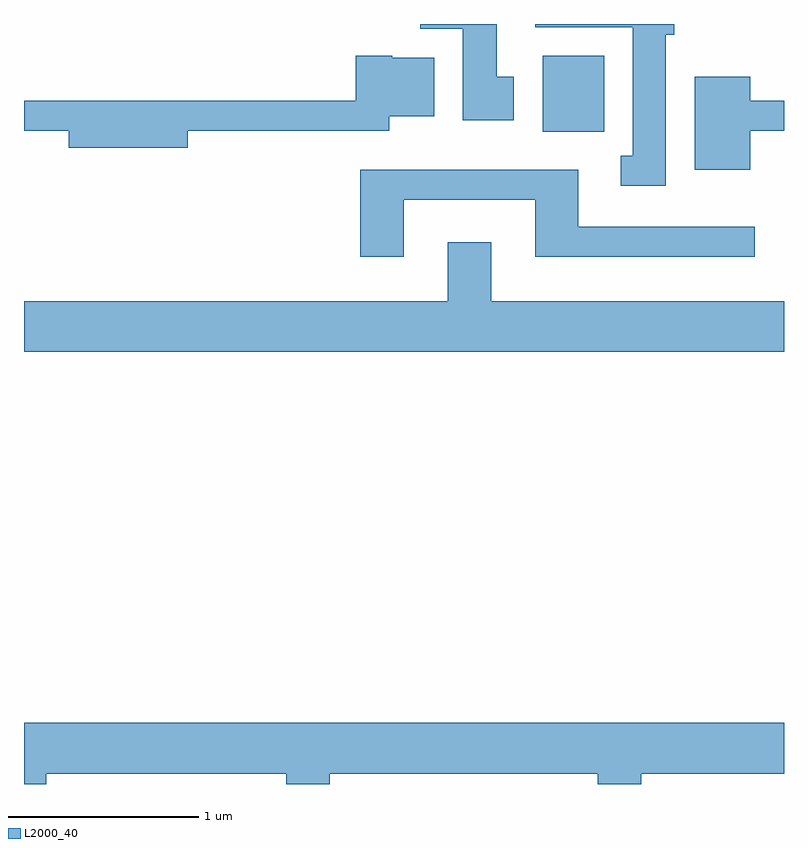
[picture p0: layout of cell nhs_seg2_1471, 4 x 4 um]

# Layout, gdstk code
import gdstk
lib = gdstk.Library(unit=1e-6, precision=1e-09)
def R(c, l, rs):  # rectangles x0, y0, x1, y1
    for r in rs: c.add(gdstk.rectangle(r[:2], r[2:], *l))
def P(c, l, *ps):  # polygons
    for p in ps: c.add(gdstk.Polygon(p, *l))
L2000_40 = (2000, 40)

nhs_seg2_1471 = lib.new_cell('nhs_seg2_1471')
R(nhs_seg2_1471, L2000_40, [(230.341,1067.236,230.664,1067.634)])
P(nhs_seg2_1471, L2000_40, [(230.989,1067.746),(231.034,1067.746),(231.034,1067.802),(230.301,1067.802),(230.301,1067.786),(230.816,1067.786),(230.816,1067.109),(230.753,1067.109),(230.753,1066.951),(230.989,1066.951)],
  [(230.189,1067.524),(230.099,1067.524),(230.099,1067.802),(229.696,1067.802),(229.696,1067.776),(229.921,1067.776),(229.921,1067.296),(230.189,1067.296)],
  [(228.474,1067.241),(229.534,1067.241),(229.534,1067.316),(229.769,1067.316),(229.769,1067.624),(229.55,1067.624),(229.55,1067.634),(229.356,1067.634),(229.356,1067.399),(227.611,1067.399),(227.611,1067.241),(227.846,1067.241),(227.846,1067.151),(228.474,1067.151)],
  [(231.434,1067.241),(231.611,1067.241),(231.611,1067.399),(231.434,1067.399),(231.434,1067.524),(231.141,1067.524),(231.141,1067.036),(231.434,1067.036)],
  [(229.609,1066.876),(230.301,1066.876),(230.301,1066.576),(231.458,1066.576),(231.458,1066.734),(230.529,1066.734),(230.529,1067.034),(229.381,1067.034),(229.381,1066.576),(229.609,1066.576)],
  [(231.611,1066.344),(230.069,1066.344),(230.069,1066.654),(229.841,1066.654),(229.841,1066.344),(227.611,1066.344),(227.611,1066.076),(231.611,1066.076)],
  [(227.729,1063.856),(228.991,1063.856),(228.991,1063.802),(229.219,1063.802),(229.219,1063.856),(230.631,1063.856),(230.631,1063.802),(230.859,1063.802),(230.859,1063.856),(231.611,1063.856),(231.611,1064.124),(227.611,1064.124),(227.611,1063.802),(227.729,1063.802)])

lib.write_gds('nhs_seg2_1471.gds')
